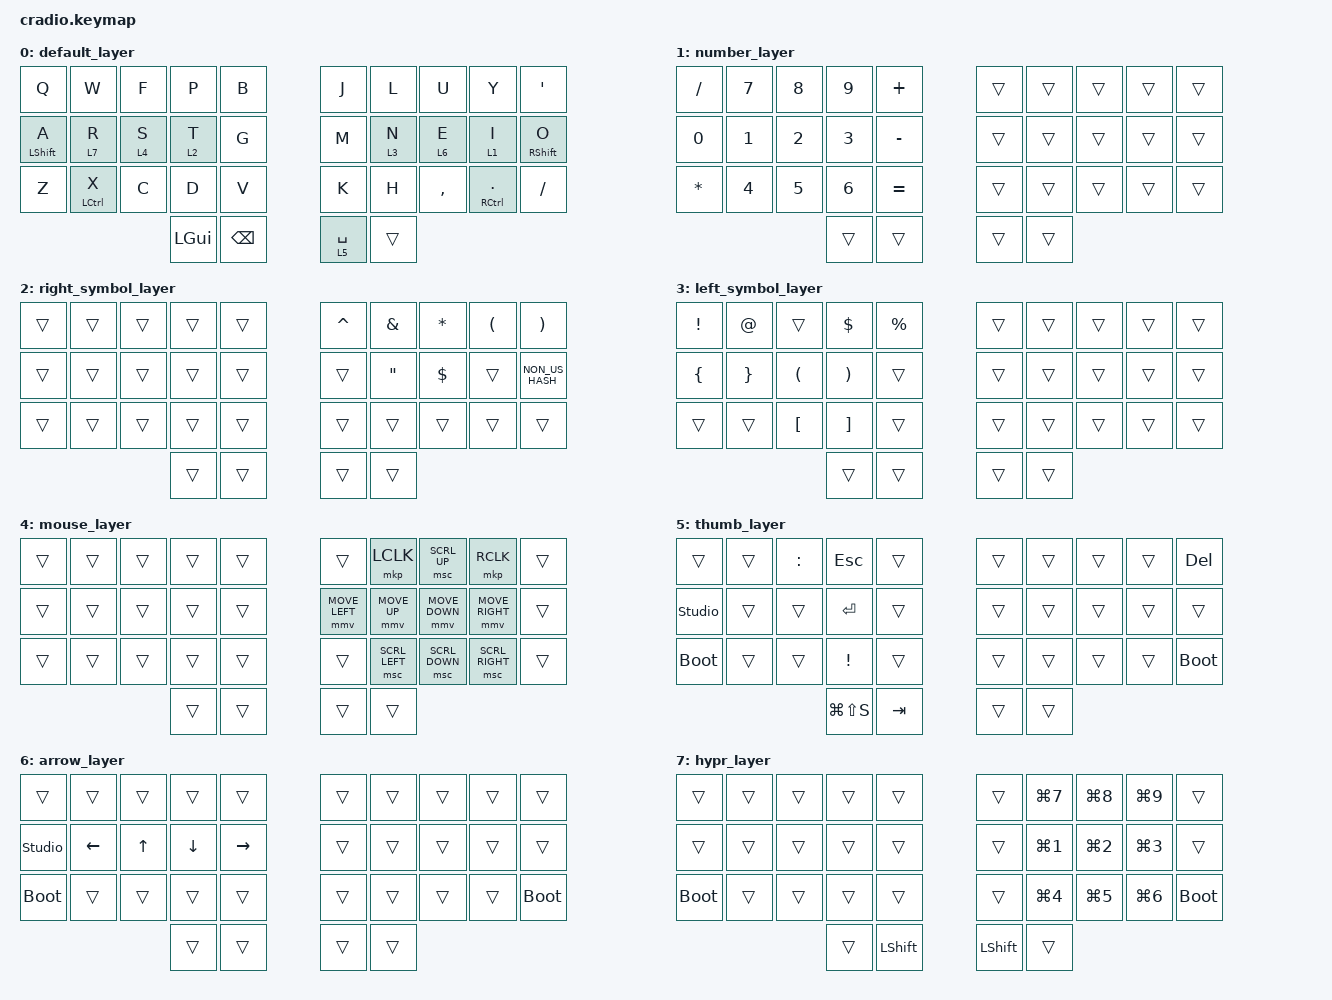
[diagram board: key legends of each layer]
// Copyright (c) 2022 The ZMK Contributors
// SPDX-License-Identifier: MIT

#include <behaviors.dtsi>
#include <dt-bindings/zmk/keys.h>
#include <dt-bindings/zmk/bt.h>
#include <dt-bindings/zmk/pointing.h>

/ {
    behaviors {
        ht: hold_tap {
            compatible = "zmk,behavior-hold-tap";
            #binding-cells = <2>;
            flavor = "tap-preferred";
            tapping-term-ms = <220>;
            quick-tap-ms = <150>;
            require-prior-idle-ms = <100>;
            bindings = <&kp>, <&kp>;
        };
    };

    keymap {
        compatible = "zmk,keymap";

        default_layer {
            bindings = <
//    ┌────────────┬────────────────────┬────────┬────────┬──────┐           ┌──────────┬────────┬────────┬────────────────────┬────────────┐
//    │     Q      │         W          │   F    │   P    │  B   │           │    J     │   L    │   U    │         Y          │     '      │
//    ├────────────┼────────────────────┼────────┼────────┼──────┤           ├──────────┼────────┼────────┼────────────────────┼────────────┤
//    │ &ht lsft A │       lt 7 R       │ lt 4 S │ lt 2 T │  G   │           │    M     │ lt 3 N │ lt 6 E │       lt 1 I       │ &ht rsft O │
//    ├────────────┼────────────────────┼────────┼────────┼──────┤           ├──────────┼────────┼────────┼────────────────────┼────────────┤
//    │     Z      │ &ht left_CONTROL X │   C    │   D    │  V   │           │    K     │   H    │   ,    │ &ht rght_CONTROL . │     /      │
//    └────────────┴────────────────────┴────────┼────────┼──────┤           ├──────────┼────────┼────────┴────────────────────┴────────────┘
//                                               │  lgui  │ bspc │           │ lt 5 spc │        │
//                                               └────────┴──────┘           └──────────┴────────┘
  &kp Q         &kp W                &kp F     &kp P      &kp B                  &kp J         &kp L     &kp U       &kp Y                   &kp SQT
  &ht LSHFT A   &lt 7 R              &lt 4 S   &lt 2 T    &kp G                  &kp M         &lt 3 N   &lt 6 E     &lt 1 I                 &ht RSHIFT O
  &kp Z         &ht LEFT_CONTROL X   &kp C     &kp D      &kp V                  &kp K         &kp H     &kp COMMA   &ht RIGHT_CONTROL DOT   &kp FSLH
                                               &kp LGUI   &kp BSPC               &lt 5 SPACE   &trans
            >;
        };
				number_layer {
					bindings = <
//    ┌───┬───┬───┬─────┬─────┐           ┌─────┬─────┬─────┬─────┬─────┐
//    │ / │ 7 │ 8 │  9  │  +  │           │     │     │     │     │     │
//    ├───┼───┼───┼─────┼─────┤           ├─────┼─────┼─────┼─────┼─────┤
//    │ 0 │ 1 │ 2 │  3  │  -  │           │     │     │     │     │     │
//    ├───┼───┼───┼─────┼─────┤           ├─────┼─────┼─────┼─────┼─────┤
//    │ * │ 4 │ 5 │  6  │  =  │           │     │     │     │     │     │
//    └───┴───┴───┼─────┼─────┤           ├─────┼─────┼─────┴─────┴─────┘
//                │     │     │           │     │     │
//                └─────┴─────┘           └─────┴─────┘
  &kp FSLH       &kp NUMBER_7   &kp NUMBER_8   &kp NUMBER_9   &kp PLUS                &trans   &trans   &trans   &trans   &trans
  &kp NUMBER_0   &kp NUMBER_1   &kp NUMBER_2   &kp NUMBER_3   &kp MINUS               &trans   &trans   &trans   &trans   &trans
  &kp ASTERISK   &kp NUMBER_4   &kp NUMBER_5   &kp NUMBER_6   &kp EQUAL               &trans   &trans   &trans   &trans   &trans
                                               &trans         &trans                  &trans   &trans
   			>;
				};
				right_symbol_layer {
				bindings = <
//    ┌─────┬─────┬─────┬─────┬─────┐           ┌─────┬─────┬─────┬─────┬──────┐
//    │     │     │     │     │     │           │  ^  │  &  │  *  │  (  │  )   │
//    ├─────┼─────┼─────┼─────┼─────┤           ├─────┼─────┼─────┼─────┼──────┤
//    │     │     │     │     │     │           │     │  "  │  $  │     │ iso# │
//    ├─────┼─────┼─────┼─────┼─────┤           ├─────┼─────┼─────┼─────┼──────┤
//    │     │     │     │     │     │           │     │     │     │     │      │
//    └─────┴─────┴─────┼─────┼─────┤           ├─────┼─────┼─────┴─────┴──────┘
//                      │     │     │           │     │     │
//                      └─────┴─────┘           └─────┴─────┘
  &trans   &trans   &trans   &trans   &trans               &kp CARET   &kp AMPERSAND       &kp ASTERISK   &kp LEFT_PARENTHESIS   &kp RIGHT_PARENTHESIS
  &trans   &trans   &trans   &trans   &trans               &trans      &kp DOUBLE_QUOTES   &kp DOLLAR     &trans                 &kp NON_US_HASH
  &trans   &trans   &trans   &trans   &trans               &trans      &trans              &trans         &trans                 &trans
                             &trans   &trans               &trans      &trans
					>;
				};
				left_symbol_layer {
				bindings = <
//    ┌─────┬─────┬─────┬─────┬─────┐           ┌─────┬─────┬─────┬─────┬─────┐
//    │  !  │  @  │     │  $  │  %  │           │     │     │     │     │     │
//    ├─────┼─────┼─────┼─────┼─────┤           ├─────┼─────┼─────┼─────┼─────┤
//    │  {  │  }  │  (  │  )  │     │           │     │     │     │     │     │
//    ├─────┼─────┼─────┼─────┼─────┤           ├─────┼─────┼─────┼─────┼─────┤
//    │     │     │  [  │  ]  │     │           │     │     │     │     │     │
//    └─────┴─────┴─────┼─────┼─────┤           ├─────┼─────┼─────┴─────┴─────┘
//                      │     │     │           │     │     │
//                      └─────┴─────┘           └─────┴─────┘
  &kp EXCLAMATION   &kp AT_SIGN       &trans                 &kp DOLLAR              &kp PERCENT               &trans   &trans   &trans   &trans   &trans
  &kp LEFT_BRACE    &kp RIGHT_BRACE   &kp LEFT_PARENTHESIS   &kp RIGHT_PARENTHESIS   &trans                    &trans   &trans   &trans   &trans   &trans
  &trans            &trans            &kp LEFT_BRACKET       &kp RIGHT_BRACKET       &trans                    &trans   &trans   &trans   &trans   &trans
                                                             &trans                  &trans                    &trans   &trans
					>;
				};
				mouse_layer {
				bindings = <
//    ┌─────┬─────┬─────┬─────┬─────┐           ┌────────────────┬────────────────┬────────────────┬────────────────┬─────┐
//    │     │     │     │     │     │           │                │      lclk      │  &msc SCRL_up  │      rclk      │     │
//    ├─────┼─────┼─────┼─────┼─────┤           ├────────────────┼────────────────┼────────────────┼────────────────┼─────┤
//    │     │     │     │     │     │           │ &mmv MOVE_left │  &mmv MOVE_up  │ &mmv MOVE_down │ &mmv MOVE_rght │     │
//    ├─────┼─────┼─────┼─────┼─────┤           ├────────────────┼────────────────┼────────────────┼────────────────┼─────┤
//    │     │     │     │     │     │           │                │ &msc SCRL_left │ &msc SCRL_down │ &msc SCRL_rght │     │
//    └─────┴─────┴─────┼─────┼─────┤           ├────────────────┼────────────────┼────────────────┴────────────────┴─────┘
//                      │     │     │           │                │                │
//                      └─────┴─────┘           └────────────────┴────────────────┘
  &trans   &trans   &trans   &trans   &trans               &trans           &mkp LCLK        &msc SCRL_UP     &mkp RCLK         &trans
  &trans   &trans   &trans   &trans   &trans               &mmv MOVE_LEFT   &mmv MOVE_UP     &mmv MOVE_DOWN   &mmv MOVE_RIGHT   &trans
  &trans   &trans   &trans   &trans   &trans               &trans           &msc SCRL_LEFT   &msc SCRL_DOWN   &msc SCRL_RIGHT   &trans
                             &trans   &trans               &trans           &trans
					>;
				};
				thumb_layer {
				bindings = <
//    ┌────────────────┬─────┬─────┬───────────────┬─────┐           ┌─────┬─────┬─────┬─────┬──────┐
//    │                │     │  :  │      esc      │     │           │     │     │     │     │ del  │
//    ├────────────────┼─────┼─────┼───────────────┼─────┤           ├─────┼─────┼─────┼─────┼──────┤
//    │ &studio_unlock │     │     │      ent      │     │           │     │     │     │     │      │
//    ├────────────────┼─────┼─────┼───────────────┼─────┤           ├─────┼─────┼─────┼─────┼──────┤
//    │      boot      │     │     │       !       │     │           │     │     │     │     │ boot │
//    └────────────────┴─────┴─────┼───────────────┼─────┤           ├─────┼─────┼─────┴─────┴──────┘
//                                 │ lgui(lsft(S)) │ tab │           │     │     │
//                                 └───────────────┴─────┘           └─────┴─────┘
  &trans           &trans   &kp COLON   &kp ESCAPE        &trans                &trans   &trans   &trans   &trans   &kp DELETE
  &studio_unlock   &trans   &trans      &kp ENTER         &trans                &trans   &trans   &trans   &trans   &trans
  &bootloader      &trans   &trans      &kp EXCLAMATION   &trans                &trans   &trans   &trans   &trans   &bootloader
                                        &kp LG(LS(S))     &kp TAB               &trans   &trans
					>;
				};
				arrow_layer {
				bindings = <
//    ┌────────────────┬──────┬─────┬──────┬──────┐           ┌─────┬─────┬─────┬─────┬──────┐
//    │                │      │     │      │      │           │     │     │     │     │      │
//    ├────────────────┼──────┼─────┼──────┼──────┤           ├─────┼─────┼─────┼─────┼──────┤
//    │ &studio_unlock │ left │ up  │ down │ rght │           │     │     │     │     │      │
//    ├────────────────┼──────┼─────┼──────┼──────┤           ├─────┼─────┼─────┼─────┼──────┤
//    │      boot      │      │     │      │      │           │     │     │     │     │ boot │
//    └────────────────┴──────┴─────┼──────┼──────┤           ├─────┼─────┼─────┴─────┴──────┘
//                                  │      │      │           │     │     │
//                                  └──────┴──────┘           └─────┴─────┘
  &trans           &trans           &trans         &trans           &trans                        &trans   &trans   &trans   &trans   &trans
  &studio_unlock   &kp LEFT_ARROW   &kp UP_ARROW   &kp DOWN_ARROW   &kp RIGHT_ARROW               &trans   &trans   &trans   &trans   &trans
  &bootloader      &trans           &trans         &trans           &trans                        &trans   &trans   &trans   &trans   &bootloader
                                                   &trans           &trans                        &trans   &trans
					>;
				};
				hypr_layer {
				bindings = <
//    ┌──────┬─────┬─────┬─────┬──────┐           ┌──────┬─────────┬─────────┬─────────┬──────┐
//    │      │     │     │     │      │           │      │ lgui(7) │ lgui(8) │ lgui(9) │      │
//    ├──────┼─────┼─────┼─────┼──────┤           ├──────┼─────────┼─────────┼─────────┼──────┤
//    │      │     │     │     │      │           │      │ lgui(1) │ lgui(2) │ lgui(3) │      │
//    ├──────┼─────┼─────┼─────┼──────┤           ├──────┼─────────┼─────────┼─────────┼──────┤
//    │ boot │     │     │     │      │           │      │ lgui(4) │ lgui(5) │ lgui(6) │ boot │
//    └──────┴─────┴─────┼─────┼──────┤           ├──────┼─────────┼─────────┴─────────┴──────┘
//                       │     │ lsft │           │ lsft │         │
//                       └─────┴──────┘           └──────┴─────────┘
  &trans        &trans   &trans   &trans   &trans                       &trans           &kp LG(NUMBER_7)   &kp LG(NUMBER_8)   &kp LG(NUMBER_9)   &trans
  &trans        &trans   &trans   &trans   &trans                       &trans           &kp LG(NUMBER_1)   &kp LG(NUMBER_2)   &kp LG(NUMBER_3)   &trans
  &bootloader   &trans   &trans   &trans   &trans                       &trans           &kp LG(NUMBER_4)   &kp LG(NUMBER_5)   &kp LG(NUMBER_6)   &bootloader
                                  &trans   &kp LEFT_SHIFT               &kp LEFT_SHIFT   &trans
					>;
				};
		};
};
